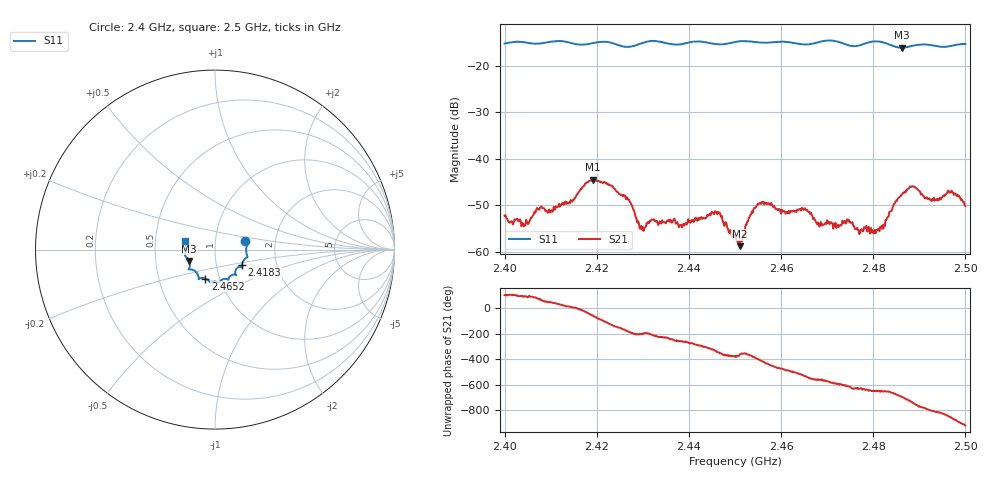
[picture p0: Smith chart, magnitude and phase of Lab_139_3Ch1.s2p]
# Hz S RI R 50
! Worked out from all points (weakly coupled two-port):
!   601 points, 2.4 GHz to 2.5 GHz, reference 50 ohm
!   highest |S21| = -44.50 dB at 2.4192 GHz (marker M1); lowest = -58.8 dB at 2.451 GHz (marker M2)
!   lowest |S11| = -16.1 dB at 2.4862 GHz (marker M3), VSWR 1.37, Z = 37.2 - j4.88 ohm
!   |S11| at or under -10 dB: start of sweep to end of sweep
!   S12 and S22 are empty: the file has one direction only
!   S11 on the Smith chart (normalised r, x): 2.4 GHz: 1.40, +0.14; 2.4183 GHz: 1.33, -0.24; 2.4652 GHz: 0.85, -0.28; 2.5 GHz: 0.71, +0.07
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2.4e9  0.1677 0.0473  -0.000621 0.00236  0 0  0 0
2.404667e9  0.1772 0.0217  -7.15e-05 0.0022  0 0  0 0
2.4075e9  0.1738 -0.00886  0.000898 0.00267  0 0  0 0
2.416667e9  0.1551 -0.0678  0.0046 -0.000917  0 0  0 0
2.418333e9  0.1498 -0.0859  0.0043 -0.00383  0 0  0 0
2.419167e9  0.1495 -0.093  0.00321 -0.00502  0 0  0 0
2.4265e9  0.1222 -0.1036  -0.00385 -0.000324  0 0  0 0
2.429833e9  0.113 -0.1349  -0.00164 0.000552  0 0  0 0
2.433333e9  0.117 -0.1415  -0.00139 0.00134  0 0  0 0
2.446167e9  0.0527 -0.1632  0.00237 0.00086  0 0  0 0
2.45e9  0.0259 -0.1795  0.00132 -0.000514  0 0  0 0
2.451e9  0.0226 -0.1829  0.00114 -7.51e-05  0 0  0 0
2.4555e9  0.0039 -0.1785  0.0023 -0.00246  0 0  0 0
2.465167e9  -0.0545 -0.1614  -0.00291 -0.000423  0 0  0 0
2.466667e9  -0.0707 -0.1577  -0.00244 0.000517  0 0  0 0
2.480167e9  -0.1471 -0.1102  0.000537 0.00149  0 0  0 0
2.483333e9  -0.1415 -0.0967  0.000909 0.00221  0 0  0 0
2.486167e9  -0.1434 -0.064  0.00372 0.00178  0 0  0 0
2.4885e9  -0.1588 -0.0431  0.00479 -0.00165  0 0  0 0
2.4925e9  -0.1658 -0.0241  0.000413 -0.00359  0 0  0 0
2.496667e9  -0.1618 0.0227  -0.00299 -0.00313  0 0  0 0
2.5e9  -0.166 0.0475  -0.00292 0.00105  0 0  0 0
